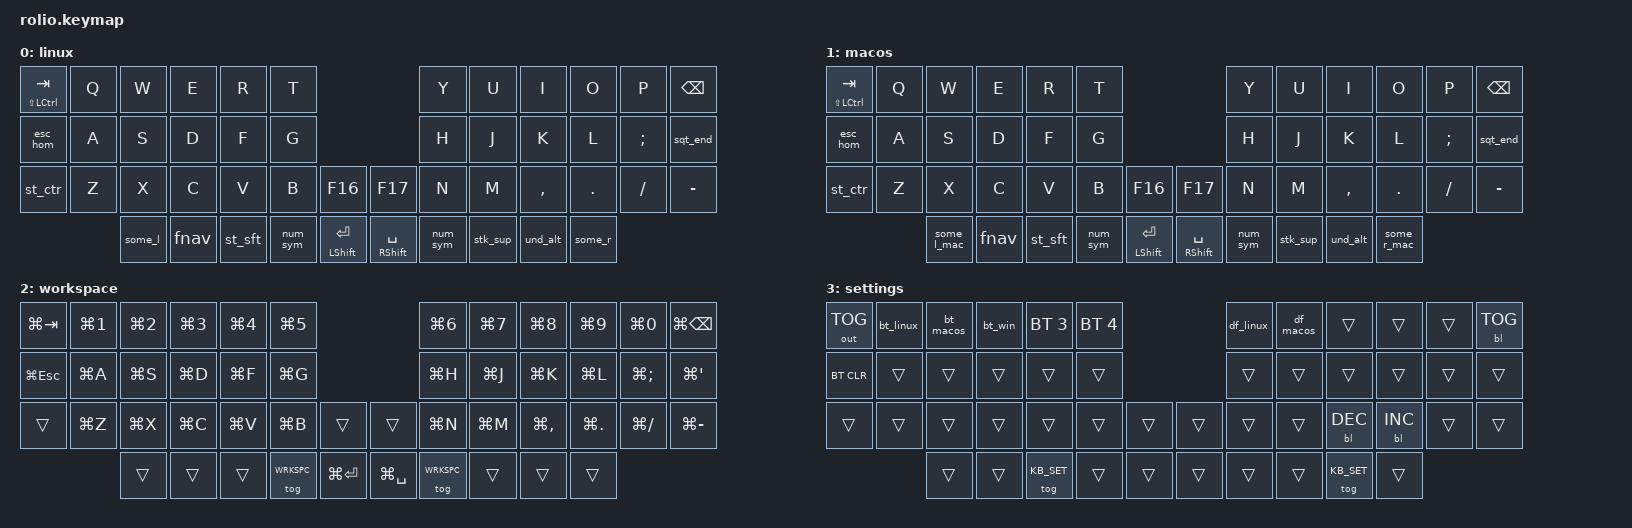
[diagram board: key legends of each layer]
/*
 * Copyright (c) 2023 The ZMK Contributors
 *
 * SPDX-License-Identifier: MIT
 */

#include <behaviors.dtsi>
#include <dt-bindings/zmk/keys.h>
#include <dt-bindings/zmk/bt.h>
#include <dt-bindings/zmk/outputs.h>
#include <dt-bindings/zmk/backlight.h>
#include "elpekenin/behaviors.dtsi"

#include <behaviors/unicode.dtsi>
#include <zmk-helpers/helper.h>
#include <zmk-unicode/keys-extra.h>

#define ZMK_POINTING_DEFAULT_SCRL_VAL 100
#include <dt-bindings/zmk/pointing.h>

// Helpful macros borrowed from AndrewMSHowe
#define ___ &trans

// Layer numbers for use by the keymap & macros
#define LINUX     0
#define MACOS     1
#define NUM_SYM   2
#define F_NAV     3
#define WRKSPC    4
#define WRK_SFT   5
#define WRK_CTR   6
#define KB_SET    7

// Custom behaviours and macros
#include "keymap_behaviors.dtsi"
#include "keymap_macros.dtsi"

// Default to Linux input system
&uc {
  default-mode = <UC_MODE_LINUX_ALT>;
};

// aliases
#define LSFT_ENT        &mt LSHIFT ENTER
#define RSFT_SPC        &mt RSHIFT SPACE
#define TAB_SC          &mt LS(LEFT_CONTROL) TAB
#define EXCLAM          &kp EXCLAMATION
#define L_PAREN         &kp LEFT_PARENTHESIS
#define R_PAREN         &kp RIGHT_PARENTHESIS
#define L_BRACE         &kp LEFT_BRACE
#define R_BRACE         &kp RIGHT_BRACE
#define L_BRACK         &kp LEFT_BRACKET
#define R_BRACK         &kp RIGHT_BRACKET
#define EM_DASH         &uc UC_EM_DASH
#define EN_DASH         &uc UC_EN_DASH
#define MULTIP          &uc UC_MULTIPLICATION_SIGN

// Keymap
ZMK_LAYER(linux,
     // ╭─────────────┬─────────────┬─────────────┬─────────────┬─────────────┬─────────────╮                               ╭─────────────┬─────────────┬─────────────┬─────────────┬─────────────┬─────────────╮
          TAB_SC        &kp Q         &kp W         &kp E         &kp R         &kp T                                         &kp Y         &kp U         &kp I         &kp O         &kp P         &kp BACKSPACE
     // ├─────────────┼─────────────┼─────────────┼─────────────┼─────────────┤─────────────┤                               ├─────────────┼─────────────┼─────────────┼─────────────┼─────────────┼─────────────┤
          &esc_hom      &kp A         &kp S         &kp D         &kp F         &kp G                                         &kp H         &kp J         &kp K         &kp L         &kp SEMI      &sqt_end
     // ├─────────────┼─────────────┼─────────────┼─────────────┼─────────────┤─────────────┤─────────────┤   ├─────────────├─────────────┼─────────────┼─────────────┼─────────────┼─────────────┼─────────────┤
          &st_ctr       &kp Z         &kp X         &kp C         &kp V         &kp B         &kp F16           &kp F17       &kp N         &kp M         &kp COMMA     &kp DOT       &kp FSLH      &kp MINUS
     // ╰─────────────┼─────────────┼─────────────┼─────────────┼─────────────┤─────────────┤─────────────┤   ├─────────────├─────────────┼─────────────┼─────────────┼─────────────┼─────────────┤─────────────╯
                                      &some_l       &fnav         &st_sft       &num_sym      LSFT_ENT          RSFT_SPC      &num_sym      &stk_sup      &und_alt      &some_r
     //                             ╰─────────────┴─────────────┴─────────────┴─────────────┴─────────────╯   ╰─────────────┴─────────────┴─────────────┴─────────────┴─────────────╯
    , &inc_dec_kp UP DOWN &inc_dec_kp LEFT RIGHT
)

ZMK_LAYER(macos,
     // ╭─────────────┬─────────────┬─────────────┬─────────────┬─────────────┬─────────────╮                               ╭─────────────┬─────────────┬─────────────┬─────────────┬─────────────┬─────────────╮
          TAB_SC        &kp Q         &kp W         &kp E         &kp R         &kp T                                         &kp Y         &kp U         &kp I         &kp O         &kp P         &kp BACKSPACE
     // ├─────────────┼─────────────┼─────────────┼─────────────┼─────────────┤─────────────┤                               ├─────────────┼─────────────┼─────────────┼─────────────┼─────────────┼─────────────┤
          &esc_hom      &kp A         &kp S         &kp D         &kp F         &kp G                                         &kp H         &kp J         &kp K         &kp L         &kp SEMI      &sqt_end
     // ├─────────────┼─────────────┼─────────────┼─────────────┼─────────────┤─────────────┤─────────────┤   ├─────────────├─────────────┼─────────────┼─────────────┼─────────────┼─────────────┼─────────────┤
          &st_ctr       &kp Z         &kp X         &kp C         &kp V         &kp B         &kp F16           &kp F17       &kp N         &kp M         &kp COMMA     &kp DOT       &kp FSLH      &kp MINUS
     // ╰─────────────┼─────────────┼─────────────┼─────────────┼─────────────┤─────────────┤─────────────┤   ├─────────────├─────────────┼─────────────┼─────────────┼─────────────┼─────────────┤─────────────╯
                                      &some_l_mac   &fnav         &st_sft       &num_sym      LSFT_ENT          RSFT_SPC      &num_sym      &stk_sup      &und_alt      &some_r_mac
     //                             ╰─────────────┴─────────────┴─────────────┴─────────────┴─────────────╯   ╰─────────────┴─────────────┴─────────────┴─────────────┴─────────────╯
    , &inc_dec_kp UP DOWN &inc_dec_kp LEFT RIGHT
)

ZMK_LAYER(num-sym,
     // ╭─────────────┬─────────────┬─────────────┬─────────────┬─────────────┬─────────────╮                               ╭─────────────┬─────────────┬─────────────┬─────────────┬─────────────┬─────────────╮
          &trans        &kp NUMBER_1  &kp NUMBER_2  &kp NUMBER_3  &kp NUMBER_4  &kp NUMBER_5                                  &kp NUMBER_6  &kp NUMBER_7  &kp NUMBER_8  &kp NUMBER_9  &kp NUMBER_0  &trans
     // ├─────────────┼─────────────┼─────────────┼─────────────┼─────────────┤─────────────┤                               ├─────────────┼─────────────┼─────────────┼─────────────┼─────────────┼─────────────┤
          &trans        EXCLAM        &kp AT_SIGN   &kp HASH      &kp DOLLAR    &kp PERCENT                                   &kp CARET     &kp AMPERSAND L_PAREN       R_PAREN       &kp ASTERISK  &trans
     // ├─────────────┼─────────────┼─────────────┼─────────────┼─────────────┤─────────────┤─────────────┤   ├─────────────├─────────────┼─────────────┼─────────────┼─────────────┼─────────────┼─────────────┤
          &trans        &tilde_bkt    L_BRACE       R_BRACE       &kp PIPE      &kp EQUAL     &trans            &trans        &kp PLUS      &kp BACKSLASH &trans        &trans        &trans        EM_DASH
     // ╰─────────────┼─────────────┼─────────────┼─────────────┼─────────────┤─────────────┤─────────────┤   ├─────────────├─────────────┼─────────────┼─────────────┼─────────────┼─────────────┤─────────────╯
                                      &trans        &trans        &trans        &tog NUM_SYM  &trans            &trans        &tog NUM_SYM  &trans        &trans        &trans
     //                             ╰─────────────┴─────────────┴─────────────┴─────────────┴─────────────╯   ╰─────────────┴─────────────┴─────────────┴─────────────┴─────────────╯
    , &inc_dec_kp C_VOL_UP C_VOL_DN &inc_dec_kp PG_UP PG_DN
)

ZMK_LAYER(f-nav,
     // ╭─────────────┬─────────────┬─────────────┬─────────────┬─────────────┬─────────────╮                               ╭─────────────┬─────────────┬─────────────┬─────────────┬─────────────┬─────────────╮
          &trans        &kp F1        &kp F2        &kp F3        &kp F4        &kp F5                                        &kp F6        &kp F7        &kp F8        &kp F9        &kp F10       &trans
     // ├─────────────┼─────────────┼─────────────┼─────────────┼─────────────┤─────────────┤                               ├─────────────┼─────────────┼─────────────┼─────────────┼─────────────┼─────────────┤
          &trans        &kp F11       &kp F12       &kp DEL       &kp PAGE_DOWN &kp PAGE_UP                                   &kp LEFT      &kp DOWN      &kp UP        &kp RIGHT     &trans        &trans
     // ├─────────────┼─────────────┼─────────────┼─────────────┼─────────────┤─────────────┤─────────────┤   ├─────────────├─────────────┼─────────────┼─────────────┼─────────────┼─────────────┼─────────────┤
          &trans        &trans        &trans        &trans        &trans        &trans        &trans            &trans        &trans        &trans        L_BRACK       R_BRACK       MULTIP        EN_DASH
     // ╰─────────────┼─────────────┼─────────────┼─────────────┼─────────────┤─────────────┤─────────────┤   ├─────────────├─────────────┼─────────────┼─────────────┼─────────────┼─────────────┤─────────────╯
                                      &trans        &tog F_NAV    &trans        &trans        &trans            &trans        &trans        &trans        &trans        &trans
     //                             ╰─────────────┴─────────────┴─────────────┴─────────────┴─────────────╯   ╰─────────────┴─────────────┴─────────────┴─────────────┴─────────────╯
    , &inc_dec_kp UP DOWN &inc_dec_kp LEFT RIGHT
)

ZMK_LAYER(workspace,
     // ╭─────────────┬─────────────┬─────────────┬─────────────┬─────────────┬─────────────╮                               ╭─────────────┬────────────┬─────────────┬─────────────┬─────────────┬─────────────╮
          &kp LG(TAB)   &kp LG(N1)    &kp LG(N2)    &kp LG(N3)    &kp LG(N4)    &kp LG(N5)                                    &kp LG(N6)    &kp LG(N7)	 &kp LG(N8)    &kp LG(N9)    &kp LG(N0)    &kp LG(BACKSPACE)
     // ├─────────────┼─────────────┼─────────────┼─────────────┼─────────────┤─────────────┤                               ├─────────────┼────────────┼─────────────┼─────────────┼─────────────┼─────────────┤
          &kp LG(ESC)   &kp LG(A)     &kp LG(S)     &kp LG(D)     &kp LG(F)     &kp LG(G)                                     &kp LG(H)     &kp LG(J)    &kp LG(K)     &kp LG(L)     &kp LG(SEMI)  &kp LG(SQT)
     // ├─────────────┼─────────────┼─────────────┼─────────────┼─────────────┤─────────────┤─────────────┤   ├─────────────├─────────────┼────────────┼─────────────┼─────────────┼─────────────┼─────────────┤
          &trans        &kp LG(Z)     &kp LG(X)     &kp LG(C)     &kp LG(V)     &kp LG(B)     &trans            &trans        &kp LG(N)     &kp LG(M)    &kp LG(COMMA) &kp LG(DOT)   &kp LG(FSLH)  &kp LG(MINUS)
     // ╰─────────────┼─────────────┼─────────────┼─────────────┼─────────────┤─────────────┤─────────────┤   ├─────────────├─────────────┼────────────┼─────────────┼─────────────┼─────────────┤─────────────╯
                                      &trans        &trans        &trans        &tog WRKSPC   &kp LG(ENTER)     &kp LG(SPACE) &tog WRKSPC   &trans       &trans        &trans
     //                             ╰─────────────┴─────────────┴─────────────┴─────────────┴─────────────╯   ╰─────────────┴─────────────┴────────────┴─────────────┴─────────────╯
    , &inc_dec_kp UP DOWN &inc_dec_kp LEFT RIGHT
)

ZMK_LAYER(worksp-sft,
     // ╭───────────────┬──────────────┬──────────────┬──────────────┬──────────────┬────────────────╮                                       ╭────────────────┬─────────────────┬─────────────────┬────────────────┬────────────────┬────────────────╮
          &kp LS(LG(TAB)) &kp LS(LG(N1)) &kp LS(LG(N2)) &kp LS(LG(N3)) &kp LS(LG(N4)) &kp LS(LG(N5))                                           &kp LS(LG(N6))   &kp LS(LG(N7))    &kp LS(LG(N8))    &kp LS(LG(N9))   &kp LS(LG(N0))   &kp LS(LG(BACKSPACE))
     // ├───────────────┼──────────────┼──────────────┼──────────────┼──────────────┤────────────────┤                                       ├────────────────┼─────────────────┼─────────────────┼────────────────┼────────────────┼────────────────┤
          &kp LS(LG(ESC)) &kp LS(LG(A))  &kp LS(LG(S))  &kp LS(LG(D))  &kp LS(LG(F))  &kp LS(LG(G))                                            &kp LS(LG(H))    &kp LS(LG(J))     &kp LS(LG(K))     &kp LS(LG(L))    &kp LS(LG(SEMI)) &kp LS(LG(SQT))
     // ├───────────────┼──────────────┼──────────────┼──────────────┼──────────────┤────────────────┤─────────────────┤   ├─────────────────├────────────────┼─────────────────┼─────────────────┼────────────────┼────────────────┼────────────────┤
          &trans          &kp LS(LG(Z))  &kp LS(LG(X))  &kp LS(LG(C))  &kp LS(LG(V))  &kp LS(LG(B))    &trans                &trans            &kp LS(LG(N))    &kp LS(LG(M))     &kp LS(LG(COMMA)) &kp LS(LG(DOT))  &kp LS(LG(FSLH)) &kp LS(LG(MINUS))
     // ╰───────────────┼──────────────┼──────────────┼──────────────┼──────────────┤────────────────┤─────────────────┤   ├─────────────────├────────────────┼─────────────────┼─────────────────┼────────────────┼────────────────┤────────────────╯
                                         &trans         &trans         &trans         &tog WRK_SFT     &kp LS(LG(ENTER))     &kp LS(LG(SPACE)) &tog WRK_SFT     &trans            &trans            &trans
     //                                ╰──────────────┴──────────────┴──────────────┴────────────────┴─────────────────╯   ╰─────────────────┴────────────────┴─────────────────┴─────────────────┴────────────────╯
    , &inc_dec_kp UP DOWN &inc_dec_kp LEFT RIGHT
)

ZMK_LAYER(worksp-ctr,
     // ╭───────────────┬──────────────┬──────────────┬──────────────┬──────────────┬────────────────╮                                       ╭──────────────────┬───────────────┬────────────────┬────────────────┬────────────────┬────────────────╮
          &kp LG(LC(TAB)) &kp LG(LC(N1)) &kp LG(LC(N2)) &kp LG(LC(N3)) &kp LG(LC(N4)) &kp LG(LC(N5))                                           &kp LG(LC(N6))     &kp LG(LC(N7))  &kp LG(LC(N8))   &kp LG(LC(N9))   &kp LG(LC(N0))   &kp LG(LC(BACKSPACE))
     // ├───────────────┼──────────────┼──────────────┼──────────────┼──────────────┤────────────────┤                                       ├──────────────────┼───────────────┼────────────────┼────────────────┼────────────────┼────────────────┤
          &kp LG(LC(ESC)) &kp LG(LC(A))  &kp LG(LC(S))  &kp LG(LC(D))  &kp LG(LC(F))  &kp LG(LC(G))                                            &kp LG(LC(H))      &kp LG(LC(J))   &kp LG(LC(K))    &kp LG(LC(L))    &kp LG(LC(SEMI)) &kp LG(LC(SQT))
     // ├───────────────┼──────────────┼──────────────┼──────────────┼──────────────┤────────────────┤─────────────────┤   ├─────────────────├──────────────────┼───────────────┼────────────────┼────────────────┼────────────────┼────────────────┤
          &trans          &kp LG(LC(Z))  &kp LG(LC(X))  &kp LG(LC(C))  &kp LG(LC(V))  &kp LG(LC(B))    &trans                &trans            &kp LG(LC(N))      &kp LG(LC(M))   &kp LG(LC(COMMA)) &kp LG(LC(DOT)) &kp LG(LC(FSLH)) &kp LG(LC(MINUS))
     // ╰───────────────┼──────────────┼──────────────┼──────────────┼──────────────┤────────────────┤─────────────────┤   ├─────────────────├──────────────────┼───────────────┼────────────────┼────────────────┼────────────────┤────────────────╯
                                         &trans         &trans         &trans         &tog WRK_CTR     &kp LG(LC(ENTER))     &kp LG(LC(SPACE)) &tog WRK_CTR       &trans          &trans           &trans
     //                                ╰──────────────┴──────────────┴──────────────┴────────────────┴─────────────────╯   ╰─────────────────┴──────────────────┴───────────────┴────────────────┴────────────────╯
    , &inc_dec_kp UP DOWN &inc_dec_kp LEFT RIGHT
)

ZMK_LAYER(settings,
     // ╭─────────────┬─────────────┬─────────────┬─────────────┬─────────────┬─────────────╮                               ╭─────────────┬─────────────┬─────────────┬─────────────┬─────────────┬─────────────╮
          &out OUT_TOG  &bt_linux     &bt_macos     &bt_win       &bt BT_SEL 3  &bt BT_SEL 4                                  &df_linux     &df_macos     &trans        &trans        &trans        &bl BL_TOG
     // ├─────────────┼─────────────┼─────────────┼─────────────┼─────────────┤─────────────┤                               ├─────────────┼─────────────┼─────────────┼─────────────┼─────────────┼─────────────┤
          &bt BT_CLR    &trans        &trans        &trans        &trans        &trans                                        &trans        &trans        &trans        &trans        &trans        &trans
     // ├─────────────┼─────────────┼─────────────┼─────────────┼─────────────┤─────────────┤─────────────┤   ├─────────────├─────────────┼─────────────┼─────────────┼─────────────┼─────────────┼─────────────┤
          &trans        &trans        &trans        &trans        &trans        &trans        &trans            &trans        &trans        &trans        &bl BL_DEC    &bl BL_INC    &trans        &trans
     // ╰─────────────┼─────────────┼─────────────┼─────────────┼─────────────┤─────────────┤─────────────┤   ├─────────────├─────────────┼─────────────┼─────────────┼─────────────┼─────────────┤─────────────╯
                                      &trans        &trans        &tog KB_SET   &trans        &trans            &trans        &trans        &trans        &tog KB_SET   &trans
     //                             ╰─────────────┴─────────────┴─────────────┴─────────────┴─────────────╯   ╰─────────────┴─────────────┴─────────────┴─────────────┴─────────────╯
    , &inc_dec_kp UP DOWN &inc_dec_kp LEFT RIGHT
)
